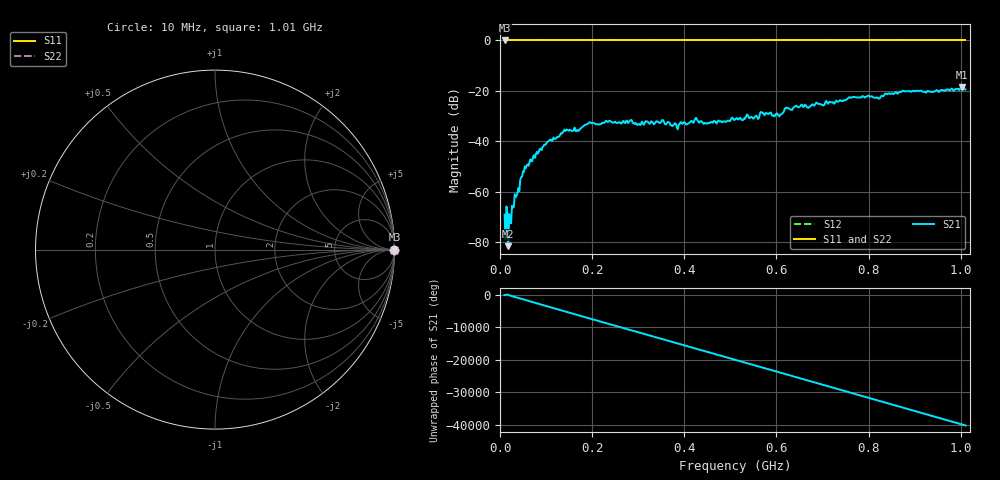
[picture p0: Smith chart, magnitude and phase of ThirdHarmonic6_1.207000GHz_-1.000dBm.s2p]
! 8/16/2025 12:33:08 PM
! C:\ANRITSUVNA\TEMP\TEMP.S2P
! CHANNEL.1
! TR.MEASUREMENT
! RAW.DATA
! RF.CORRECTION.OFF
! AVERAGING.OFF
! IF.BANDWIDTH: 5KHZ
! SWEEPTYPE:  FREQ.SWEEP(Linear)
! Reference Plane Port Info
! PORT:  PORT1  PORT2
! DISTANCE:  0  m  0  m
! TIME:  0  s  0  s
! PHASE.OFFSET:  0  deg.  0  deg.
! LOSS:  0  dB  0  dB
! REF.LOSS:  0  dB  0  dB
! REF.FREQ:  0  Hz  0  Hz
! Power Info
! POWER:  -20  dBm  -20  dBm
! EFF.POWER:  -20  dBm  -20  dBm
! SOURCE.ATTEN:  0  dB  0  dB
! TEST.ATTEN:  0  dB  0  dB
# GHZ S RI R 50.0
! FREQ.GHZ  S11RE  S11IM  S21RE  S21IM  S12RE  S12IM  S22RE  S22IM
!; PortSelection: Port_12
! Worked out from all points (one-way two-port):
!   501 points, 10 MHz to 1.01 GHz, reference 50 ohm
!   highest |S21| = -18.49 dB at 1.002 GHz (marker M1); lowest = -81.7 dB at 18 MHz (marker M2)
!   lowest |S11| = 0.0 dB at 10 MHz (marker M3)
!   |S11| at or under -10 dB: nowhere
!   |S22| runs from 0.0 to 0.0 dB; largest |S21 - S12| = 1.1
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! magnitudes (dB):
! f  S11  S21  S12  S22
! 10 MHz  0.0  -69.2  0.0  0.0
! 14 MHz  0.0  -65.9  0.0  0.0
! 18 MHz  0.0  -81.7  0.0  0.0
! 22 MHz  0.0  -71.3  0.0  0.0
! 30 MHz  0.0  -66.1  0.0  0.0
! 50 MHz  0.0  -52.0  0.0  0.0
! 76 MHz  0.0  -46.6  0.0  0.0
! 142 MHz  0.0  -36.0  0.0  0.0
! 178 MHz  0.0  -34.5  0.0  0.0
! 234 MHz  0.0  -32.4  0.0  0.0
! 344 MHz  0.0  -32.4  0.0  0.0
! 386 MHz  0.0  -35.3  0.0  0.0
! 426 MHz  0.0  -30.8  0.0  0.0
! 446 MHz  0.0  -32.8  0.0  0.0
! 510 MHz  0.0  -31.4  0.0  0.0
! 568 MHz  0.0  -28.7  0.0  0.0
! 608 MHz  0.0  -29.5  0.0  0.0
! 622 MHz  0.0  -26.6  0.0  0.0
! 678 MHz  0.0  -25.4  0.0  0.0
! 844 MHz  0.0  -21.0  0.0  0.0
! 1.002 GHz  0.0  -18.5  0.0  0.0
! 1.01 GHz  0.0  -19.5  0.0  0.0
